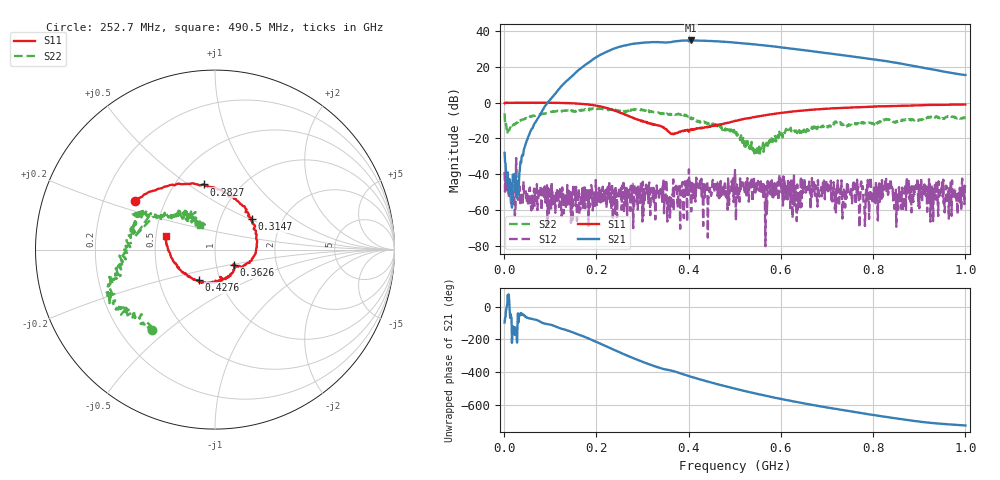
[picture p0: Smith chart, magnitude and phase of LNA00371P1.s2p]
! Created with skrf 1.9.0 (http://scikit-rf.org).
# Hz S RI R 50.0
!freq ReS11 ImS11 ReS21 ImS21 ReS12 ImS12 ReS22 ImS22
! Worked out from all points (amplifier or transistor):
!   1001 points, 1 MHz to 1 GHz, reference 50 ohm
!   highest |S21| = 34.9 dB at 404.6 MHz (marker M1)
!   |S21| within 3 dB of that: 258.4 MHz to 571.9 MHz (313.5 MHz wide, 75.5 % of centre)
!   unconditionally stable (mu >= 1): 7.486 MHz to 74.43 MHz; 297 MHz to 400.5 MHz; 400.8 MHz to end of sweep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
!   at 166.8 MHz: K = 1.29, MAG = 31.7 dB, |S12| = -50.4 dB
!   at 500.5 MHz: K = 1.01, MAG = 35.1 dB, |S12| = -37.6 dB
!   at 1 GHz: K = 2.71, MAG = 23.6 dB, |S12| = -46.0 dB
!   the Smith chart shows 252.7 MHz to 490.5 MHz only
!   S11 on the Smith chart (normalised r, x): 252.7 MHz: 0.34, +0.25; 282.7 MHz: 0.68, +0.57; 314.7 MHz: 1.40, +0.52; 362.6 MHz: 1.22, -0.21; 427.6 MHz: 0.79, -0.28; 490.5 MHz: 0.56, +0.09
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1000000  0.9709 -0.00757  -0.00416 -0.0397  -0.00384 0.0109  0.3835 0.3294
1.08892e8  0.5081 -0.8555  -0.7918 -1.484  -0.00202 -0.00141  0.4312 -0.3706
1.67833e8  -0.2545 -0.8981  -9.643 -0.5782  -0.000471 0.00272  0.0531 -0.6326
2.12788e8  -0.6974 -0.3157  -14.85 18  0.0012 -0.0021  -0.2028 -0.6281
2.31769e8  -0.6535 0.00474  -7.732 29.29  0.00101 -0.0011  -0.2768 -0.5788
2.52748e8  -0.4464 0.2701  7.339 36.88  -0.00335 -0.000387  -0.3509 -0.4496
2.82718e8  -0.0638 0.3629  33.04 30.66  -0.00341 0.00345  -0.591 -0.2943
3.14686e8  0.2051 0.1718  48.7 6.652  0.0034 0.00481  -0.5241 -0.1427
3.34666e8  0.2315 0.011  48.68 -9.761  -0.00329 -0.000286  -0.5329 -0.0332
3.62638e8  0.1056 -0.0847  43.2 -25.54  -0.00142 0.000638  -0.4458 0.0996
3.79621e8  0.1081 -0.1089  38.3 -38.01  -0.000498 0.00386  -0.4392 0.1998
4.04596e8  0.0248 -0.1711  21.35 -51.13  0.0028 0.000783  -0.3172 0.1647
4.27573e8  -0.0908 -0.1694  3.801 -54.5  0.00742 0.000674  -0.2399 0.1886
4.55545e8  -0.2064 -0.0995  -16.57 -50.12  0.00264 0.00155  -0.1518 0.1883
4.9051e8  -0.2753 0.0763  -33.94 -35.7  0.00341 -0.00149  -0.0821 0.1347
5.005e8  -0.2802 0.1395  -37.53 -30.71  0.0127 -0.00315  -0.0762 0.094
5.4046e8  -0.2033 0.3358  -42.09 -9.524  0.00429 -0.00367  -0.0301 0.0321
5.88412e8  0.00311 0.495  -35.49 10.88  0.000168 -0.00264  -0.0928 -0.0624
6.67333e8  0.3878 0.5064  -13.91 23.73  -0.0041 -0.00666  -0.2033 -0.0607
7.53247e8  0.6748 0.2976  3.57 19.48  -0.00168 -0.00207  -0.2404 -0.00761
8.34166e8  0.8024 0.0315  10.18 9.916  -0.00249 -0.00469  -0.3309 -0.00796
1e9  0.7368 -0.5154  5.958 -0.5759  -0.00499 -0.000356  -0.2525 0.2809
